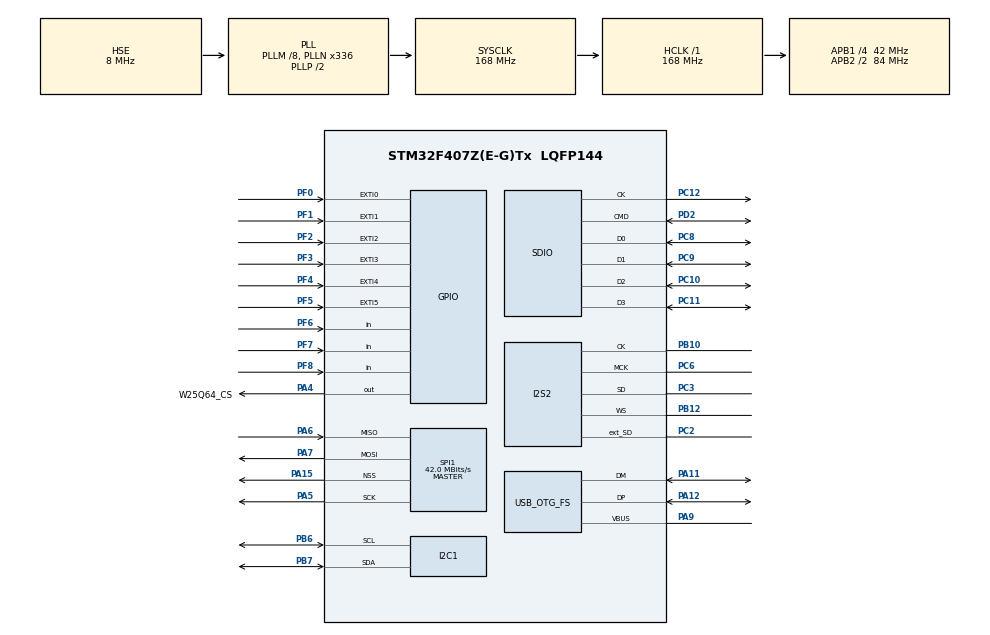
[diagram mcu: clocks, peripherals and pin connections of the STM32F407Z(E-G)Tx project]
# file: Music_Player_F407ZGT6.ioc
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Dma.I2C1_TX.0.Direction=DMA_MEMORY_TO_PERIPH
Dma.I2C1_TX.0.FIFOMode=DMA_FIFOMODE_DISABLE
Dma.I2C1_TX.0.Instance=DMA1_Stream6
Dma.I2C1_TX.0.MemDataAlignment=DMA_MDATAALIGN_BYTE
Dma.I2C1_TX.0.MemInc=DMA_MINC_ENABLE
Dma.I2C1_TX.0.Mode=DMA_NORMAL
Dma.I2C1_TX.0.PeriphDataAlignment=DMA_PDATAALIGN_BYTE
Dma.I2C1_TX.0.PeriphInc=DMA_PINC_DISABLE
Dma.I2C1_TX.0.Priority=DMA_PRIORITY_HIGH
Dma.Request0=I2C1_TX
Dma.Request1=SPI2_TX
Dma.Request2=SPI1_TX
Dma.Request3=SPI1_RX
Dma.SPI1_RX.3.Direction=DMA_PERIPH_TO_MEMORY
Dma.SPI1_RX.3.FIFOMode=DMA_FIFOMODE_DISABLE
Dma.SPI1_RX.3.Instance=DMA2_Stream0
Dma.SPI1_RX.3.MemDataAlignment=DMA_MDATAALIGN_BYTE
Dma.SPI1_RX.3.MemInc=DMA_MINC_ENABLE
Dma.SPI1_RX.3.Mode=DMA_NORMAL
Dma.SPI1_RX.3.PeriphDataAlignment=DMA_PDATAALIGN_BYTE
Dma.SPI1_RX.3.PeriphInc=DMA_PINC_DISABLE
Dma.SPI1_RX.3.Priority=DMA_PRIORITY_HIGH
Dma.SPI1_TX.2.Direction=DMA_MEMORY_TO_PERIPH
Dma.SPI1_TX.2.FIFOMode=DMA_FIFOMODE_DISABLE
Dma.SPI1_TX.2.Instance=DMA2_Stream3
Dma.SPI1_TX.2.MemDataAlignment=DMA_MDATAALIGN_BYTE
Dma.SPI1_TX.2.MemInc=DMA_MINC_ENABLE
Dma.SPI1_TX.2.Mode=DMA_NORMAL
Dma.SPI1_TX.2.PeriphDataAlignment=DMA_PDATAALIGN_BYTE
Dma.SPI1_TX.2.PeriphInc=DMA_PINC_DISABLE
Dma.SPI1_TX.2.Priority=DMA_PRIORITY_HIGH
Dma.SPI2_TX.1.Direction=DMA_MEMORY_TO_PERIPH
Dma.SPI2_TX.1.FIFOMode=DMA_FIFOMODE_DISABLE
Dma.SPI2_TX.1.Instance=DMA1_Stream4
Dma.SPI2_TX.1.MemDataAlignment=DMA_MDATAALIGN_HALFWORD
Dma.SPI2_TX.1.MemInc=DMA_MINC_ENABLE
Dma.SPI2_TX.1.Mode=DMA_CIRCULAR
Dma.SPI2_TX.1.PeriphDataAlignment=DMA_PDATAALIGN_HALFWORD
Dma.SPI2_TX.1.PeriphInc=DMA_PINC_DISABLE
Dma.SPI2_TX.1.Priority=DMA_PRIORITY_VERY_HIGH
FATFS.USE_DMA_CODE_SD=1
FREERTOS.Tasks01=defaultTask,24,128,StartDefaultTask,Default,NULL,Dynamic,NULL,NULL
I2C1.I2C_Mode=I2C_Fast
I2S2.AudioFreq=I2S_AUDIOFREQ_44K
I2S2.DataFormat=I2S_DATAFORMAT_24B
I2S2.ErrorAudioFreq=10.97 %
I2S2.FullDuplexMode=I2S_FULLDUPLEXMODE_ENABLE
I2S2.Instance=SPI$Index
I2S2.RealAudioFreq=48.828 KHz
I2S2.VirtualMode=I2S_MODE_MASTER
Mcu.Family=STM32F4
Mcu.Name=STM32F407Z(E-G)Tx
Mcu.Package=LQFP144
NVIC.DMA1_Stream4_IRQn=true\:5\:0\:false\:false\:true\:true\:false\:true\:true
NVIC.DMA1_Stream6_IRQn=true\:5\:0\:false\:false\:true\:true\:false\:true\:true
NVIC.DMA2_Stream0_IRQn=true\:5\:0\:false\:false\:true\:true\:false\:true\:true
NVIC.DMA2_Stream3_IRQn=true\:5\:0\:false\:false\:true\:true\:false\:true\:true
NVIC.EXTI0_IRQn=true\:5\:0\:false\:false\:true\:false\:true\:true\:true
NVIC.EXTI1_IRQn=true\:5\:0\:false\:false\:true\:false\:true\:true\:true
NVIC.EXTI2_IRQn=true\:5\:0\:false\:false\:true\:false\:true\:true\:true
NVIC.EXTI3_IRQn=true\:5\:0\:false\:false\:true\:false\:true\:true\:true
NVIC.EXTI4_IRQn=true\:5\:0\:false\:false\:true\:false\:true\:true\:true
NVIC.EXTI9_5_IRQn=true\:5\:0\:false\:false\:true\:false\:true\:true\:true
NVIC.I2C1_ER_IRQn=true\:5\:0\:false\:false\:true\:true\:true\:true\:true
NVIC.I2C1_EV_IRQn=true\:5\:0\:false\:false\:true\:true\:true\:true\:true
NVIC.OTG_FS_IRQn=true\:5\:0\:false\:false\:true\:true\:true\:true\:true
NVIC.PriorityGroup=NVIC_PRIORITYGROUP_4
NVIC.SDIO_IRQn=true\:5\:0\:false\:false\:true\:true\:true\:true\:true
NVIC.SPI1_IRQn=true\:5\:0\:false\:false\:true\:true\:true\:true\:true
NVIC.SPI2_IRQn=true\:5\:0\:false\:false\:true\:true\:true\:true\:true
PA11.Mode=Device_Only
PA11.Signal=USB_OTG_FS_DM
PA12.Mode=Device_Only
PA12.Signal=USB_OTG_FS_DP
PA15.Mode=NSS_Signal_Hard_Output
PA15.Signal=SPI1_NSS
PA4.GPIO_Label=W25Q64_CS
PA4.GPIO_Mode=GPIO_MODE_OUTPUT_PP
PA4.GPIO_PuPd=GPIO_NOPULL
PA4.GPIO_Speed=GPIO_SPEED_FREQ_HIGH
PA4.Signal=GPIO_Output
PA5.Mode=Full_Duplex_Master
PA5.Signal=SPI1_SCK
PA6.Mode=Full_Duplex_Master
PA6.Signal=SPI1_MISO
PA7.Mode=Full_Duplex_Master
PA7.Signal=SPI1_MOSI
PA9.Mode=Activate_VBUS
PA9.Signal=USB_OTG_FS_VBUS
PB10.Mode=Full_Duplex_Master
PB10.Signal=I2S2_CK
PB12.Mode=Full_Duplex_Master
PB12.Signal=I2S2_WS
PB6.GPIO_Pu=GPIO_PULLUP
PB6.GPIO_Speed=GPIO_SPEED_FREQ_HIGH
PB6.Mode=I2C
PB6.Signal=I2C1_SCL
PB7.GPIO_Pu=GPIO_PULLUP
PB7.GPIO_Speed=GPIO_SPEED_FREQ_HIGH
PB7.Mode=I2C
PB7.Signal=I2C1_SDA
PC10.Mode=SD_4_bits_Wide_bus
PC10.Signal=SDIO_D2
PC11.Mode=SD_4_bits_Wide_bus
PC11.Signal=SDIO_D3
PC12.Mode=SD_4_bits_Wide_bus
PC12.Signal=SDIO_CK
PC2.Mode=Full_Duplex_Master
PC2.Signal=I2S2_ext_SD
PC3.Mode=Full_Duplex_Master
PC3.Signal=I2S2_SD
PC6.Mode=Master_Clock_Activated
PC6.Signal=I2S2_MCK
PC8.Mode=SD_4_bits_Wide_bus
PC8.Signal=SDIO_D0
PC9.Mode=SD_4_bits_Wide_bus
PC9.Signal=SDIO_D1
PD2.Mode=SD_4_bits_Wide_bus
PD2.Signal=SDIO_CMD
PF0.GPIO_ModeDefaultEXTI=GPIO_MODE_IT_FALLING
PF0.GPIO_PuPd=GPIO_PULLUP
PF0.Signal=GPXTI0
PF1.GPIO_ModeDefaultEXTI=GPIO_MODE_IT_FALLING
PF1.GPIO_PuPd=GPIO_PULLUP
PF1.Signal=GPXTI1
PF2.GPIO_ModeDefaultEXTI=GPIO_MODE_IT_FALLING
PF2.GPIO_PuPd=GPIO_PULLUP
PF2.Signal=GPXTI2
PF3.GPIO_ModeDefaultEXTI=GPIO_MODE_IT_FALLING
PF3.GPIO_PuPd=GPIO_PULLUP
PF3.Signal=GPXTI3
PF4.GPIO_ModeDefaultEXTI=GPIO_MODE_IT_FALLING
PF4.GPIO_PuPd=GPIO_PULLUP
PF4.Signal=GPXTI4
PF5.GPIO_ModeDefaultEXTI=GPIO_MODE_IT_RISING_FALLING
PF5.GPIO_PuPd=GPIO_PULLUP
PF5.Signal=GPXTI5
PF6.GPIO_Mode=GPIO_MODE_INPUT
PF6.GPIO_PuPd=GPIO_PULLUP
PF6.Signal=GPIO_Input
PF7.GPIO_Mode=GPIO_MODE_INPUT
PF7.GPIO_PuPd=GPIO_PULLUP
PF7.Signal=GPIO_Input
PF8.GPIO_Mode=GPIO_MODE_INPUT
PF8.GPIO_PuPd=GPIO_PULLUP
PF8.Signal=GPIO_Input
PH0-OSC_IN.Mode=HSE-Crystal
PH0-OSC_IN.Signal=RCC_OSC_IN
PH1-OSC_OUT.Mode=HSE-Crystal
PH1-OSC_OUT.Signal=RCC_OSC_OUT
ProjectManager.HeapSize=0x200
ProjectManager.StackSize=0x400
ProjectManager.TargetToolchain=STM32CubeIDE
RCC.48MHZClocksFreq_Value=48000000
RCC.AHBFreq_Value=168000000
RCC.APB1CLKDivider=RCC_HCLK_DIV4
RCC.APB1Freq_Value=42000000
RCC.APB1TimFreq_Value=84000000
RCC.APB2CLKDivider=RCC_HCLK_DIV2
RCC.APB2Freq_Value=84000000
RCC.APB2TimFreq_Value=168000000
RCC.CortexFreq_Value=168000000
RCC.HCLKFreq_Value=168000000
RCC.HSE_VALUE=8000000
RCC.HSI_VALUE=16000000
RCC.LSE_VALUE=32768
RCC.PLLI2SN=100
RCC.PLLM=8
RCC.PLLN=336
RCC.PLLQ=7
RCC.SYSCLKFreq_VALUE=168000000
RCC.SYSCLKSource=RCC_SYSCLKSOURCE_PLLCLK
RCC.VCOOutputFreq_Value=336000000
SDIO.ClockDiv=6
SPI1.BaudRatePrescaler=SPI_BAUDRATEPRESCALER_2
SPI1.CalculateBaudRate=42.0 MBits/s
SPI1.Direction=SPI_DIRECTION_2LINES
SPI1.Mode=SPI_MODE_MASTER
SPI1.VirtualNSS=VM_NSSHARD
SPI1.VirtualType=VM_MASTER
USB_DEVICE.CLASS_NAME_FS=MSC
USB_DEVICE.VirtualMode-MSC_FS=Msc
USB_DEVICE.VirtualModeFS=Msc_FS
USB_OTG_FS.VirtualMode=Device_Only
VP_FATFS_VS_SDIO.Mode=SDIO
VP_FREERTOS_VS_CMSIS_V2.Mode=CMSIS_V2
VP_USB_DEVICE_VS_USB_DEVICE_MSC_FS.Mode=MSC_FS
board=custom

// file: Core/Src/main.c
/* USER CODE BEGIN Header */
/**
  ******************************************************************************
  * @file           : main.c
  * @brief          : Main program body
  ******************************************************************************
  * @attention
  *
  * Copyright (c) 2026 STMicroelectronics.
  * All rights reserved.
  *
  * This software is licensed under terms that can be found in the LICENSE file
  * in the root directory of this software component.
  * If no LICENSE file comes with this software, it is provided AS-IS.
  *
  ******************************************************************************
  */
/* USER CODE END Header */
#include "main.h"
#include "cmsis_os.h"
#include "dma.h"
#include "fatfs.h"
#include "i2c.h"
#include "i2s.h"
#include "sdio.h"
#include "spi.h"
#include "usb_device.h"
#include "gpio.h"

/* USER CODE BEGIN Includes */
#include "OLED.h"
#include "wm8960.h"   /* WM8960 CODEC 驱动 (I2C 配置, 不初始化则耳机无声) */
/* USER CODE END Includes */

void SystemClock_Config(void);
void MX_FREERTOS_Init(void);
/* USER CODE BEGIN PFP */
void MX_FREERTOS_Init(void);   /* 任务创建�? freertos.c (本工程无 freertos.h, 这里手动声明) */
/* USER CODE END PFP */

int main(void)
{

  /* MCU Configuration--------------------------------------------------------*/

  /* Reset of all peripherals, Initializes the Flash interface and the Systick. */
  HAL_Init();

  /* Configure the system clock */
  SystemClock_Config();

  /* Initialize all configured peripherals */
  MX_GPIO_Init();
  MX_DMA_Init();
  MX_I2C1_Init();
  MX_I2S2_Init();
  MX_SPI1_Init();
  MX_SDIO_SD_Init();
  MX_FATFS_Init();
  /* USER CODE BEGIN 2 */
  OLED_Init();
  OLED_Clear();

  /* 初始化 WM8960 CODEC (I2C1, 器件地址 0x34)。
   * 重要: WM8960 是寄存器控制的 codec, 上电后 DAC/输出驱动/混音器/音量默认全关,
   *       不写这串初始化寄存器 → 耳机没有任何声音。 */
  {
      uint8_t wm_ok = WM8960_Init();
      OLED_ShowString(1, 1, wm_ok ? "WM8960 OK" : "WM8960 ERR");
      OLED_RefreshScreenWithScroll();
      HAL_Delay(500);
  }
  /* USER CODE END 2 */

  /* Init scheduler */
  osKernelInitialize();

  /* Call init function for freertos objects (in cmsis_os2.c) */
  MX_FREERTOS_Init();

  /* Start scheduler */
  osKernelStart();

  /* We should never get here as control is now taken by the scheduler */

  /* Infinite loop */
  while (1)
  {

  }
}

void SystemClock_Config(void)
{
  RCC_OscInitTypeDef RCC_OscInitStruct = {0};
  RCC_ClkInitTypeDef RCC_ClkInitStruct = {0};

  /** Configure the main internal regulator output voltage
  */
  __HAL_RCC_PWR_CLK_ENABLE();
  __HAL_PWR_VOLTAGESCALING_CONFIG(PWR_REGULATOR_VOLTAGE_SCALE1);

  /** Initializes the RCC Oscillators according to the specified parameters
  * in the RCC_OscInitTypeDef structure.
  */
  RCC_OscInitStruct.OscillatorType = RCC_OSCILLATORTYPE_HSE;
  RCC_OscInitStruct.HSEState = RCC_HSE_ON;   /* 8MHz 无源晶振 */
  RCC_OscInitStruct.PLL.PLLState = RCC_PLL_ON;
  RCC_OscInitStruct.PLL.PLLSource = RCC_PLLSOURCE_HSE;
  RCC_OscInitStruct.PLL.PLLM = 8;   /* 8MHz 晶振 -> VCO input 1MHz */
  RCC_OscInitStruct.PLL.PLLN = 336;
  RCC_OscInitStruct.PLL.PLLP = RCC_PLLP_DIV2;
  RCC_OscInitStruct.PLL.PLLQ = 7;
  if (HAL_RCC_OscConfig(&RCC_OscInitStruct) != HAL_OK)
  {
    Error_Handler();
  }

  /** Initializes the CPU, AHB and APB buses clocks
  */
  RCC_ClkInitStruct.ClockType = RCC_CLOCKTYPE_HCLK|RCC_CLOCKTYPE_SYSCLK
                              |RCC_CLOCKTYPE_PCLK1|RCC_CLOCKTYPE_PCLK2;
  RCC_ClkInitStruct.SYSCLKSource = RCC_SYSCLKSOURCE_PLLCLK;
  RCC_ClkInitStruct.AHBCLKDivider = RCC_SYSCLK_DIV1;
  RCC_ClkInitStruct.APB1CLKDivider = RCC_HCLK_DIV4;
  RCC_ClkInitStruct.APB2CLKDivider = RCC_HCLK_DIV2;

  if (HAL_RCC_ClockConfig(&RCC_ClkInitStruct, FLASH_LATENCY_5) != HAL_OK)
  {
    Error_Handler();
  }
}

void Error_Handler(void)
{
  __disable_irq();
  while (1)
  {
  }
}

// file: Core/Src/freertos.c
/* USER CODE BEGIN Header */
/**
  ******************************************************************************
  * File Name          : freertos.c
  * Description        : Code for freertos applications
  ******************************************************************************
  * @attention
  *
  * Copyright (c) 2026 STMicroelectronics.
  * All rights reserved.
  *
  ******************************************************************************
  */
/* USER CODE END Header */

#include "FreeRTOS.h"
#include "task.h"
#include "main.h"
#include "cmsis_os.h"

/* USER CODE BEGIN Includes */
#include <stdio.h>
#include "Music_Driver.h"
#include "OLED.h"
#include "wm8960.h"    /* 音量键 PF7/PF8 → I2C 调 WM8960 音量 */
#include "font_store.h" /* W25Q64 点阵字库: 上电加载 / 从 SD 卡烧写 */
#include "fatfs.h"
#include "timers.h"
#include "usbd_storage_if.h"
#include "usbd_core.h"
/* USER CODE END Includes */

/* USER CODE BEGIN Variables */
extern USBD_HandleTypeDef hUsbDeviceFS;
/* USER CODE END Variables */
/* Definitions for defaultTask */
osThreadId_t defaultTaskHandle;
const osThreadAttr_t defaultTask_attributes = {
  .name = "defaultTask",
  .stack_size = 256 * 4,   /* 1KB(原 512B 太紧: 任务里要 sprintf + OLED 取字 + USB 提示) */
  .priority = (osPriority_t) osPriorityNormal2,
};

/* USER CODE BEGIN FunctionPrototypes */

/* 音频播放任务 / 文件扫描任务句柄 (创建在 MX_FREERTOS_Init 的 RTOS_THREADS USER CODE 区) */
osThreadId_t audio_file_readHandle;
const osThreadAttr_t audio_file_read_attributes = {
  .name = "audio_file_read",
  .stack_size = 2048 * 4,   /* 8KB: Helix 定点解码器栈需求极小(MP3Decode 仅 112 字节, 全库最大 448),
                               原来 32KB 是为 minimp3(需 17.5KB 栈)留的, 换 Helix 后可大幅缩小 */
  .priority = (osPriority_t) osPriorityNormal3,   /* ★原为 osPriorityNormal: 比 defaultTask(Normal2)、
                                                    FILE_LOAD(Normal1) 都低 → 填充缓冲时可被它们抢。
                                                    MP3 每行只有 46.4ms 的填充窗口, 被抢一下就欠载
                                                    (环形 DMA 会重复旧数据 → 听感变慢)。
                                                    提到所有应用任务之上(仍低于中断/定时器任务)。 */
};
osThreadId_t audio_file_loadHandle;
const osThreadAttr_t audio_file_load_attributes = {
  .name = "audio_file_load",
  .stack_size = 768 * 4,
  .priority = (osPriority_t) osPriorityNormal1,
};

osSemaphoreId_t LOAD_OR_NOTHandle;
const osSemaphoreAttr_t LOAD_OR_NOT_attributes = {
  .name = "LOAD_OR_NOT"
};
osSemaphoreId_t LOAD_DONE_OR_NOTHandle;
const osSemaphoreAttr_t LOAD_DONE_OR_NOT_attributes = {
  .name = "LOAD_DONE_OR_NOT"
};

/* 歌名滚动字幕定时器 */
osTimerId_t scroll_timerHandle;
const osTimerAttr_t scroll_timer_attributes = {
  .name = "scroll_timer"
};

/* OLED I2C 访问互斥量 (递归: 整屏刷新外层持锁 + 单字节传输内层递归获取) */
osMutexId_t oled_mutexHandle;
const osMutexAttr_t oled_mutex_attributes = {
  .name = "oled_mutex",
  .attr_bits = osMutexRecursive,
};

/* USER CODE END FunctionPrototypes */

void StartDefaultTask(void *argument);
void AUDIO_READ(void *argument);
void FILE_LOAD(void *argument);
void OLED_SCROLL_Callback(void *argument);

extern void MX_USB_DEVICE_Init(void);
void MX_FREERTOS_Init(void); /* (MISRA C 2004 rule 8.1) */

void MX_FREERTOS_Init(void) {

  /* USER CODE BEGIN RTOS_MUTEX */
  /* OLED I2C 访问互斥量: 防止滚动定时器回调与音频任务(切歌显示)并发操作 I2C 导致花屏/丢数据 */
  oled_mutexHandle = osMutexNew(&oled_mutex_attributes);
  /* USER CODE END RTOS_MUTEX */

  /* Create the semaphores(s) */
  /* creation of LOAD_OR_NOT */
  LOAD_OR_NOTHandle = osSemaphoreNew(1, 1, &LOAD_OR_NOT_attributes);

  /* USER CODE BEGIN RTOS_SEMAPHORES */
  LOAD_DONE_OR_NOTHandle = osSemaphoreNew(1, 0, &LOAD_DONE_OR_NOT_attributes);
  /* USER CODE END RTOS_SEMAPHORES */

  /* USER CODE BEGIN RTOS_TIMERS */
  /* 歌名滚动字幕定时器 (50ms 周期, 在 StartDefaultTask 启动后 osTimerStart)。
   * 同时承载切歌键长按检测。 */
  scroll_timerHandle = osTimerNew(OLED_SCROLL_Callback, osTimerPeriodic, NULL, &scroll_timer_attributes);
  /* USER CODE END RTOS_TIMERS */

  /* Create the thread(s) */
  /* creation of defaultTask */
  defaultTaskHandle = osThreadNew(StartDefaultTask, NULL, &defaultTask_attributes);

  /* USER CODE BEGIN RTOS_THREADS */
  /* 音频播放任务 + SD 扫描任务 */
  audio_file_readHandle = osThreadNew(AUDIO_READ, NULL, &audio_file_read_attributes);
  audio_file_loadHandle = osThreadNew(FILE_LOAD, NULL, &audio_file_load_attributes);
  /* USER CODE END RTOS_THREADS */

}

/* USER CODE BEGIN Header_StartDefaultTask */
/**
  * @brief  Function implementing the defaultTask thread (USB 任务).
  * @param  argument: Not used
  * @retval None
  */
/* ================= 点阵字库(W25Q64) 上电加载 / 从 SD 卡烧写 =================
 * 用法: 把 tools/gen_font.py 生成的 font16.bin 放到 SD 卡根目录, 开机自动烧进 W25Q64 并校验;
 *       之后把文件从 SD 卡删掉也没关系(Flash 里已经有了)。内容相同会跳过, 不会每次开机重复写。
 * 注意: 下面这些提示文字本身由内 flash 的 8x16 + GB2312 兜底字库显示, 所以字库还没烧入时也能正常提示。 */
static void font_progress(uint32_t done, uint32_t total)
{
  char buf[20];
  if (total == 0) return;
  sprintf(buf, "%lu%%", (unsigned long)((done * 100u) / total));
  OLED_ShowString(3, 1, "烧写字库");
  OLED_ShowString(3, 10, "     ");
  OLED_ShowString(3, 10, buf);
  OLED_RefreshScreenWithScroll();
}

static void FONT_BOOT(void)
{
  int rc, frc;

  OLED_Clear();
  OLED_ShowString(1, 1, "字库检查中...");
  OLED_RefreshScreenWithScroll();

  /* 先把 W25Q64 里已有的字库加载起来(没烧过也正常, 只是 valid=0) */
  frc = font_store_init();

  if (f_mount(&SDFatFS, SDPath, 1) == FR_OK) {
    rc = font_store_boot_check("0:/font16.bin", font_progress);
    if (rc == 1) {                        /* 本次烧写成功 */
      OLED_Clear();
      OLED_ShowString(1, 1, "字库已更新");
      OLED_ShowString(2, 1, "字节:");
      OLED_ShowNum(2, 6, font_store_size(), 7);
      OLED_RefreshScreenWithScroll();
      osDelay(1200);
    } else if (rc < 0) {                  /* 烧写出错 */
      OLED_Clear();
      OLED_ShowString(1, 1, "字库写入失败");
      OLED_ShowString(2, 1, "错误码:");
      OLED_ShowNum(2, 8, (uint32_t)(-rc), 2);
      OLED_ShowString(3, 1, "检查SD卡上的");
      OLED_ShowString(4, 1, "font16.bin");
      OLED_RefreshScreenWithScroll();
      osDelay(2000);
    }
  }

  OLED_Clear();
  if (font_store_ready()) {
    OLED_ShowString(1, 1, "字库就绪");
    OLED_ShowString(2, 1, "区段:");
    OLED_ShowNum(2, 6, font_store_ranges(), 2);
    OLED_ShowString(3, 1, "多语言已启用");
  } else if (frc == -20) {          /* 字库存在但整段 CRC 校验不过 = 内容坏了 */
    OLED_ShowString(1, 1, "字库校验失败");
    OLED_ShowString(2, 1, "内容已损坏");
    OLED_ShowString(3, 1, "把 font16.bin");
    OLED_ShowString(4, 1, "放SD卡重新烧");
  } else {
    OLED_ShowString(1, 1, "字库未烧入");
    OLED_ShowString(2, 1, "把 font16.bin");
    OLED_ShowString(3, 1, "放SD卡根目录");
    OLED_ShowString(4, 1, "再开机");
  }
  OLED_RefreshScreenWithScroll();
  osDelay(1200);
}

/* USER CODE END Header_StartDefaultTask */
void StartDefaultTask(void *argument)
{
  /* init code for USB_DEVICE */
  MX_USB_DEVICE_Init();
  /* USER CODE BEGIN StartDefaultTask */
  /* 启动滚动+按键检测定时器 (50ms 周期) */
  if (scroll_timerHandle != NULL) {
    osTimerStart(scroll_timerHandle, 50);
  }
  /* 注: 字库检查/烧写放在 FILE_LOAD 任务里(见那里), 不要放这里 —— 本任务栈只有 1KB,
   * 而字库流程要 sprintf + FatFs + OLED 取字, 之前放这里实测栈溢出(画完提示就黑屏)。 */
  uint8_t usb_was_connected = 0;
  /* Infinite loop */
  for(;;)
  {
    /* 读取当前 USB 枚举状态 */
    uint8_t now_connected = (hUsbDeviceFS.dev_state == USBD_STATE_CONFIGURED);
    if (now_connected != usb_was_connected)
    {
      usb_was_connected = now_connected;
      usb_sd_occupied = now_connected;   /* 同步占用标志 */
      if (now_connected)
      {
        OLED_Clear();
        OLED_ShowString(1, 1, "USB已连接");
        OLED_ShowString(2, 1, "暂停播放");
        audio_stop();
      }
      else
      {
        osSemaphoreRelease(LOAD_OR_NOTHandle);   /* 触发重新扫描 SD */
        OLED_Clear();
        OLED_ShowString(1, 1, "USB已断开");
        OLED_ShowString(2, 1, "重新扫描...");
      }
    }
    osDelay(200);
  }
  /* USER CODE END StartDefaultTask */
}

/* USER CODE BEGIN Header_AUDIO_READ */
/**
* @brief 音频播放任务
*/
/* USER CODE END Header_AUDIO_READ */
void AUDIO_READ(void *argument)
{
  /* USER CODE BEGIN AUDIO_READ */
  for(;;)
  {
    /* 先等扫描完成再清屏: 否则会把开机时的"字库检查/文件扫描"提示擦掉(表现为黑屏) */
    osSemaphoreAcquire(LOAD_DONE_OR_NOTHandle, osWaitForever);
    OLED_Clear();
    while(1)
    {
      audio_file_read(&audiofiles[0]);
    }
  }
  /* USER CODE END AUDIO_READ */
}

/* 栈溢出钩子: 哪个任务栈被写穿就直接显示出来, 不要黑屏让人猜。
 * 需在 FreeRTOSConfig.h 里把 configCHECK_FOR_STACK_OVERFLOW 设为 2。 */
void vApplicationStackOverflowHook(TaskHandle_t xTask, char *pcTaskName)
{
  (void)xTask;
  OLED_Clear();
  OLED_ShowString(1, 1, "栈溢出!");
  OLED_ShowString(2, 1, pcTaskName);
  OLED_ShowString(3, 1, "该任务栈太小");
  OLED_ShowString(4, 1, "需加大stack_size");
  OLED_RefreshScreenWithScroll();
  for (;;) {
    osDelay(1000);          /* 停在这里, 让提示留在屏上 */
  }
}

/* USER CODE BEGIN Header_FILE_LOAD */
/**
* @brief SD 卡音频文件扫描任务
*/
/* USER CODE END Header_FILE_LOAD */
void FILE_LOAD(void *argument)
{
  /* USER CODE BEGIN FILE_LOAD */
  uint8_t sem_num=0, load_flag;

  /* ★点阵字库: 平时只从 W25Q64 加载"已经烧好的"字库(快, 完全不碰 SD 卡)。
   * 需要更新字库时才走 SD: 把 font16.bin 放 SD 根目录, **开机时按住 PF7(音量+)不放**,
   * 才会去检查/烧写(烧一次要 20~40 秒, 所以不放在常规启动路径上)。
   * 字库没烧过也不影响使用: 中文走内 flash 的 GB2312 兜底, 只是没有俄/日/韩/繁体。 */
  (void)font_store_init();
  if (HAL_GPIO_ReadPin(GPIOF, GPIO_PIN_7) == GPIO_PIN_RESET) {
    FONT_BOOT();
  }
  for(;;)
  {
    osSemaphoreAcquire(LOAD_OR_NOTHandle, osWaitForever);
    sem_num++;
    load_flag = audio_file_load();
    if (load_flag == 0)
    {
      OLED_Clear();
      OLED_ShowString(1, 1, "就绪");
      osSemaphoreRelease(LOAD_DONE_OR_NOTHandle);
      OLED_ShowString(2, 1, "完成");
      OLED_ShowNum(3, 1, sem_num, 3);
    }
    else if (load_flag == 3)
    {
      OLED_Clear();
      OLED_ShowString(1, 1, "没有文件");
    }
  }
  /* USER CODE END FILE_LOAD */
}

/* 把当前音量显示到 OLED 第 4 行 (音量键按下时调用; 本函数只在定时器任务里调用, 不涉及并发) */
static void oled_show_volume(void)
{
  char str[16];
  sprintf(str, "音量:%d", (int)WM8960_GetVolume());
  OLED_ShowString(4, 1, str);
  OLED_RefreshScreenWithScroll();
}

/* USER CODE BEGIN Header_OLED_SCROLL */
/**
* @brief 软件定时器回调: 长歌名滚动字幕 + 切歌键长按检测 + 音量键 (每 50ms)。
*/
/* USER CODE END Header_OLED_SCROLL */
void OLED_SCROLL_Callback(void *argument)
{
  /* USER CODE BEGIN OLED_SCROLL */
  uint16_t offset;
  uint32_t now;
  uint8_t prev, next;
  static uint8_t scroll_div = 0;   /* 50ms 回调, 滚动每 2 次推进一列(~100ms) */

  /* ===== 切歌键长按检测 (按下由 EXTI 捕获, 这里轮询松开/长按) ===== */
  now = HAL_GetTick();
  prev = (HAL_GPIO_ReadPin(GPIOF, GPIO_PIN_0) == GPIO_PIN_RESET);
  next = (HAL_GPIO_ReadPin(GPIOF, GPIO_PIN_1) == GPIO_PIN_RESET);

  /* PF0: 上一首 (短按=上一首, 长按=快退) */
  if (!prev && key_prev_down) {
    if ((now - key_prev_tick) < 30) {
      key_prev_down = 0;
    } else if ((now - key_prev_tick) < 300) {
      key_prev_down = 0;
      play_cmd = CMD_PREV;
    } else {
      key_prev_down = 0;
      seek_speed = 0;
    }
  } else if (prev && key_prev_down && (now - key_prev_tick >= 300)) {
    if (current_audio_type != 3) {
      int s = 2 + (int)((now - key_prev_tick - 300) / 5000);
      if (s > 4) s = 4;
      seek_speed = -s;
    }
  }

  /* PF1: 下一首 (短按=下一首, 长按=快进) */
  if (!next && key_next_down) {
    if ((now - key_next_tick) < 30) {
      key_next_down = 0;
    } else if ((now - key_next_tick) < 300) {
      key_next_down = 0;
      play_cmd = CMD_NEXT;
    } else {
      key_next_down = 0;
      seek_speed = 0;
    }
  } else if (next && key_next_down && (now - key_next_tick >= 300)) {
    int s = 2 + (int)((now - key_next_tick - 300) / 5000);
    if (s > 4) s = 4;
    seek_speed = s;
  }

  /* ===== 音量键 PF7(加) / PF8(减): 轮询读取 =====
   * 不用 EXTI 的原因: 便于实现"按住连调", 且避免在中断里做 I2C 写
   * (I2C 写会阻塞中断, 还会与 OLED 抢总线)。
   * 行为: 按下立即调一档; 按住超过 400ms 后每 200ms 再连调一档。 */
  {
    static uint8_t  vol_key = 0;      /* 0=无 / 1=PF7(音量+) / 2=PF8(音量-) */
    static uint32_t vol_tick = 0;
    uint8_t vkey = 0;

    if (HAL_GPIO_ReadPin(GPIOF, GPIO_PIN_7) == GPIO_PIN_RESET)      vkey = 1;
    else if (HAL_GPIO_ReadPin(GPIOF, GPIO_PIN_8) == GPIO_PIN_RESET) vkey = 2;

    if (vkey != 0) {
      if (vkey != vol_key) {                    /* 刚按下: 立刻调一档 */
        vol_key = vkey;
        vol_tick = now;
        if (vkey == 1) WM8960_VolumeUp(); else WM8960_VolumeDown();
        oled_show_volume();
      } else if ((now - vol_tick) >= 400) {      /* 按住 400ms 后连调(每 200ms 一档) */
        vol_tick = now;
        if (vkey == 1) WM8960_VolumeUp(); else WM8960_VolumeDown();
        oled_show_volume();
      }
    } else {
      vol_key = 0;                               /* 松开 */
    }
  }

  /* ===== 歌名滚动 (每 2 次推进一列 ~100ms) ===== */
  if (scrollTextWidth > 128)
  {
    if (++scroll_div >= 2) {
      scroll_div = 0;
      offset = scrollOffset + 1;
      if (offset >= scrollTextWidth) offset = 0;
      scrollOffset = offset;
      OLED_RefreshScreenWithScroll();
    }
  }
  /* USER CODE END OLED_SCROLL */
}
